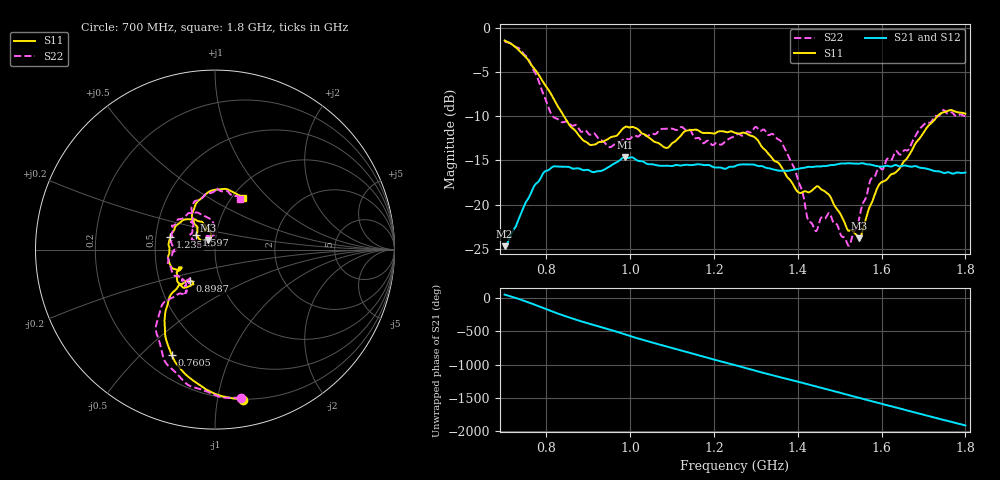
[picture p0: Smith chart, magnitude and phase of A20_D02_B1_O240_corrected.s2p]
! Created with skrf 1.9.0 (http://scikit-rf.org).
# Hz S RI R 50.0
!freq ReS11 ImS11 ReS21 ImS21 ReS12 ImS12 ReS22 ImS22
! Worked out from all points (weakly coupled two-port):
!   1601 points, 700 MHz to 1.8 GHz, reference 50 ohm
!   highest |S21| = -14.63 dB at 986.7 MHz (marker M1); lowest = -24.7 dB at 700 MHz (marker M2)
!   lowest |S11| = -23.8 dB at 1.547 GHz (marker M3), VSWR 1.14, Z = 46.1 + j4.8 ohm
!   |S11| at or under -10 dB: 841.7 MHz to 1.733 GHz (890.9 MHz wide, 69.2 % of centre)
!   |S22| runs from -24.7 to -1.5 dB; largest |S21 - S12| = 0.0035
!   S11 on the Smith chart (normalised r, x): 700 MHz: 0.20, -1.19; 760.5 MHz: 0.32, -0.62; 898.7 MHz: 0.72, -0.26; 1.235 GHz: 0.60, +0.09; 1.597 GHz: 0.80, +0.13; 1.8 GHz: 1.12, +0.72
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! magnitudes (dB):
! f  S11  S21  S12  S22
! 700 MHz  -1.4  -24.7  -24.5  -1.5
! 760.5 MHz  -3.9  -18.9  -18.8  -3.9
! 814.1 MHz  -7.8  -15.7  -15.8  -9.9
! 883.6 MHz  -12.5  -16.0  -15.9  -11.8
! 898.7 MHz  -13.0  -16.1  -16.1  -11.9
! 950.9 MHz  -12.4  -15.7  -15.7  -13.5
! 986.7 MHz  -11.2  -14.6  -14.7  -12.5
! 1.067 GHz  -13.0  -15.6  -15.5  -11.7
! 1.235 GHz  -11.8  -15.8  -15.8  -12.6
! 1.25 GHz  -11.9  -15.7  -15.6  -12.2
! 1.3 GHz  -12.5  -15.6  -15.5  -11.2
! 1.359 GHz  -15.6  -16.2  -16.1  -12.8
! 1.401 GHz  -18.6  -15.9  -15.9  -17.2
! 1.434 GHz  -18.4  -15.7  -15.7  -22.1
! 1.476 GHz  -18.9  -15.6  -15.6  -21.0
! 1.522 GHz  -23.0  -15.3  -15.3  -24.7
! 1.547 GHz  -23.8  -15.3  -15.3  -21.5
! 1.573 GHz  -20.1  -15.5  -15.5  -17.2
! 1.597 GHz  -17.6  -15.7  -15.7  -15.8
! 1.617 GHz  -16.9  -15.6  -15.6  -14.8
! 1.737 GHz  -9.8  -16.2  -16.3  -9.9
! 1.8 GHz  -9.7  -16.4  -16.4  -10.0
